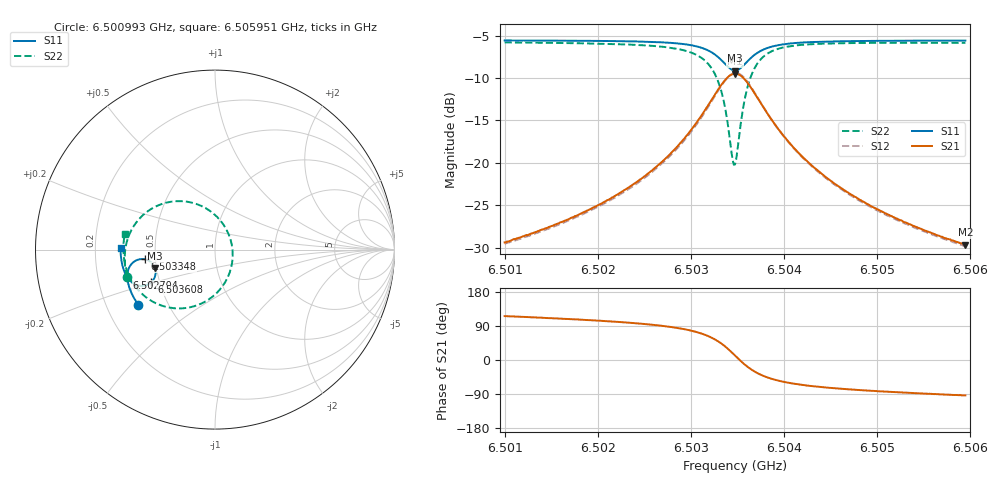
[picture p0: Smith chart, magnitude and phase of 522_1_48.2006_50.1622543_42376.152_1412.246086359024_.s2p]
#  HZ  S  RI  R  50.00
! Rohde & Schwarz Vector Network Analyzer
! Rohde-Schwarz,ZNB20-2Port,1311601062101988,3.16
! Created: UTC 3/20/2024, 11:59:30 AM
! freq[Hz]  re:S11  im:S11  re:S21  im:S21  re:S12  im:S12  re:S22  im:S22
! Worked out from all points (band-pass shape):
!   401 points, 6.500993 GHz to 6.505951 GHz, reference 50 ohm
!   highest |S21| = -9.47 dB at 6.503472 GHz (marker M1); lowest = -29.7 dB at 6.505951 GHz (marker M2)
!   |S21| within 3 dB of the highest: 6.503226 GHz to 6.503722 GHz (495.9 kHz wide, 0.00763 % of centre)
!   lowest |S11| = -9.1 dB at 6.503472 GHz (marker M3), VSWR 2.08, Z = 24.5 - j5.81 ohm
!   |S11| at or under -10 dB: nowhere
!   |S22| runs from -20.2 to -5.8 dB; largest |S21 - S12| = 0.011
!   S11 on the Smith chart (normalised r, x): 6.500993 GHz: 0.34, -0.29; 6.502704 GHz: 0.33, -0.14; 6.503348 GHz: 0.44, -0.06; 6.503608 GHz: 0.45, -0.19; 6.505951 GHz: 0.31, +0.01
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6.5009928e9  -0.4281 -0.3076  -0.0148 0.0306  -0.0133 0.0306  -0.4907 -0.1516
6.5018234e9  -0.4636 -0.2459  -0.0142 0.0485  -0.0118 0.048  -0.5033 -0.0628
6.5023192e9  -0.4806 -0.2012  -0.0106 0.0704  -0.00775 0.0692  -0.4988 0.0093
6.5026539e9  -0.4882 -0.1634  -0.00184 0.0977  0.00157 0.0956  -0.4797 0.0783
6.5027035e9  -0.4886 -0.1568  0.00058 0.1036  0.00411 0.1012  -0.4745 0.0911
6.502939e9  -0.4856 -0.1201  0.0229 0.1401  0.0263 0.1359  -0.4278 0.1649
6.5031002e9  -0.4713 -0.0879  0.0615 0.1758  0.0642 0.1702  -0.3527 0.2281
6.5032489e9  -0.4343 -0.0581  0.1419 0.2048  0.1424 0.1989  -0.2065 0.2699
6.5033481e9  -0.3885 -0.0545  0.2321 0.1894  0.2322 0.1852  -0.0498 0.2297
6.5034473e9  -0.3411 -0.0893  0.3181 0.1016  0.3211 0.0977  0.0861 0.0578
6.5034721e9  -0.3344 -0.1042  0.329 0.0689  0.3325 0.0639  0.0977 -0.00353
6.5034969e9  -0.3312 -0.1202  0.3327 0.0344  0.3369 0.0285  0.0964 -0.0664
6.503534e9  -0.333 -0.1442  0.3263 -0.0156  0.33 -0.0238  0.0706 -0.1552
6.5035712e9  -0.3414 -0.1652  0.3074 -0.0589  0.3099 -0.0688  0.0227 -0.2278
6.5036084e9  -0.3545 -0.1815  0.2809 -0.0924  0.2811 -0.1033  -0.037 -0.2792
6.50372e9  -0.3998 -0.2019  0.1945 -0.1386  0.1897 -0.1481  -0.2123 -0.3276
6.5038811e9  -0.4472 -0.1927  0.1105 -0.1353  0.1039 -0.1404  -0.3633 -0.2801
6.5040547e9  -0.4752 -0.1713  0.0651 -0.1147  0.059 -0.1169  -0.437 -0.214
6.5043026e9  -0.4962 -0.1413  0.0345 -0.0896  0.0299 -0.0902  -0.4812 -0.1408
6.5046621e9  -0.5114 -0.1035  0.0156 -0.0663  0.0123 -0.0661  -0.5037 -0.0676
6.5051331e9  -0.5214 -0.0594  0.00518 -0.0489  0.00282 -0.0484  -0.5104 0.000354
6.5059513e9  -0.5264 0.0102  -0.00188 -0.0328  -0.00337 -0.0321  -0.5029 0.0877
